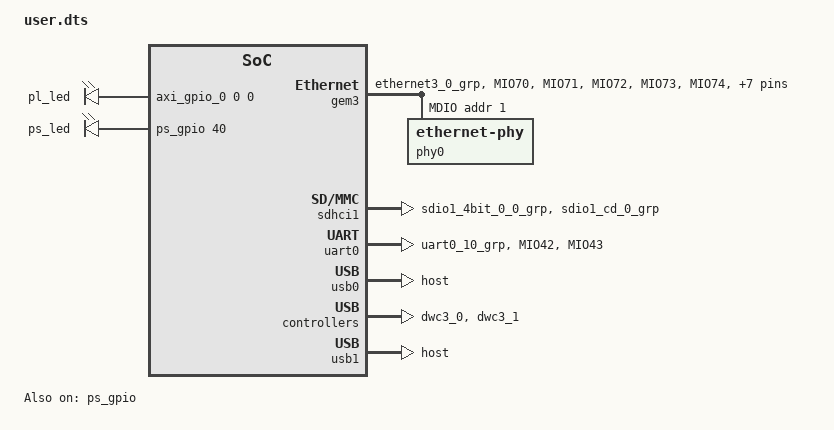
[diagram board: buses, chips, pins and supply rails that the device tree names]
#include <dt-bindings/pinctrl/pinctrl-zynqmp.h>

&gem3 {
	pinctrl-names = "default";
	pinctrl-0 = <&pinctrl_gem3_default>;

	mdio: mdio {
		#address-cells = <1>;
		#size-cells = <0>;
		phy0: ethernet-phy@1 {
			reg = <0x1>;
			device_type = "ethernet-phy";
		};
	};
};

&sdhci1 {
	disable-wp;
	no-1-8-v;
	u-boot,dm-pre-reloc;
	pinctrl-names = "default";
	pinctrl-0 = <&pinctrl_sdhci1_default>;
};

&uart0 {
	pinctrl-names = "default";
	pinctrl-0 = <&pinctrl_uart0_default>;
};

&usb0 {
    status  = "okay";
    dr_mode = "host";
};
&dwc3_0 {
    status = "okay";
};

&usb1 {
    status  = "okay";
    dr_mode = "host";
};
&dwc3_1 {
    status = "okay";
};

&pinctrl0 {
	status = "okay";
	u-boot,dm-pre-reloc;

	pinctrl_gem3_default: gem3-default{
		mux {
			function = "ethernet3";
			groups = "ethernet3_0_grp";
		};

		conf {
			groups = "ethernet3_0_grp";
			slew-rate = <SLEW_RATE_SLOW>;
			io-standard = <IO_STANDARD_LVCMOS18>;
		};
		
		conf-rx {
			pins = "MIO70", "MIO71", "MIO72", "MIO73", "MIO74", "MIO75";
			bias-high-impedance;
			low-power-disable;
		};

		conf-tx {
			pins = "MIO64", "MIO65", "MIO66", "MIO67", "MIO68", "MIO69";
			bias-disable;
			low-power-enable;
		};
	};

	pinctrl_uart0_default: uart0-default {
		mux {
			groups = "uart0_10_grp";
			function = "uart0";
		};

		conf {
			groups = "uart0_10_grp";
			slew-rate = <SLEW_RATE_SLOW>;
			io-standard = <IO_STANDARD_LVCMOS18>;
		};

		conf-rx {
			pins = "MIO42";
			bias-high-impedance;
		};

		conf-tx {
			pins = "MIO43";
			bias-disable;
		};
	};

	pinctrl_sdhci1_default: sdhci1-default {
		mux {
			groups = "sdio1_4bit_0_0_grp";
			function = "sdio1";
		};

		conf {
			groups = "sdio1_4bit_0_0_grp";
			slew-rate = <SLEW_RATE_SLOW>;
			power-source = <IO_STANDARD_LVCMOS18>;
			bias-disable;
		};

		mux-cd {
			groups = "sdio1_cd_0_grp";
			function = "sdio1_cd";
		};

		conf-cd {
			groups = "sdio1_cd_0_grp";
			bias-high-impedance;
			bias-pull-up;
			slew-rate = <SLEW_RATE_SLOW>;
			power-source = <IO_STANDARD_LVCMOS18>;
		};
	};
};

&axi_dma_0 {
    dma-coherent;
};

&amba_pl {

	dma_proxy {  
		compatible ="xlnx,dma_proxy";
		dmas = <&axi_dma_0 0  &axi_dma_0 1>;
		dma-names = "dma_proxy_tx", "dma_proxy_rx";  
		dma-coherent;
	};
};

/ {
	leds {
		compatible = "gpio-leds";

		pl-led {
			label = "pl_led";
			gpios = <&axi_gpio_0 0 0 0>;
			default-state = "on";
			linux,default-trigger = "none";
		};

		ps-led{
			label = "ps_led";
			gpios = <&ps_gpio 40 0>;
			default-state = "on";
			linux,default-trigger = "none";
		};
	};
};

&amba{
	ps_gpio: gpio@ff0a0000 {
		compatible = "xlnx,zynqmp-gpio-1.0";
		status = "okay";
		#gpio-cells = <0x02>;
		gpio-controller;
		interrupt-parent = <0x04>;
		interrupts = <0x00 0x10 0x04>;
		interrupt-controller;
		#interrupt-cells = <0x02>;
		reg = <0x00 0xff0a0000 0x00 0x1000>;
		power-domains = <0x0c 0x2e>;
		clocks = <0x03 0x1f>;
		emio-gpio-width = <0x20>;
		gpio-mask-high = <0x00>;
		gpio-mask-low = <0x5600>;
		phandle = <0x54>;
	};
};

&axi_gpio_0{
	label = "axi_gpio_pl";
};
